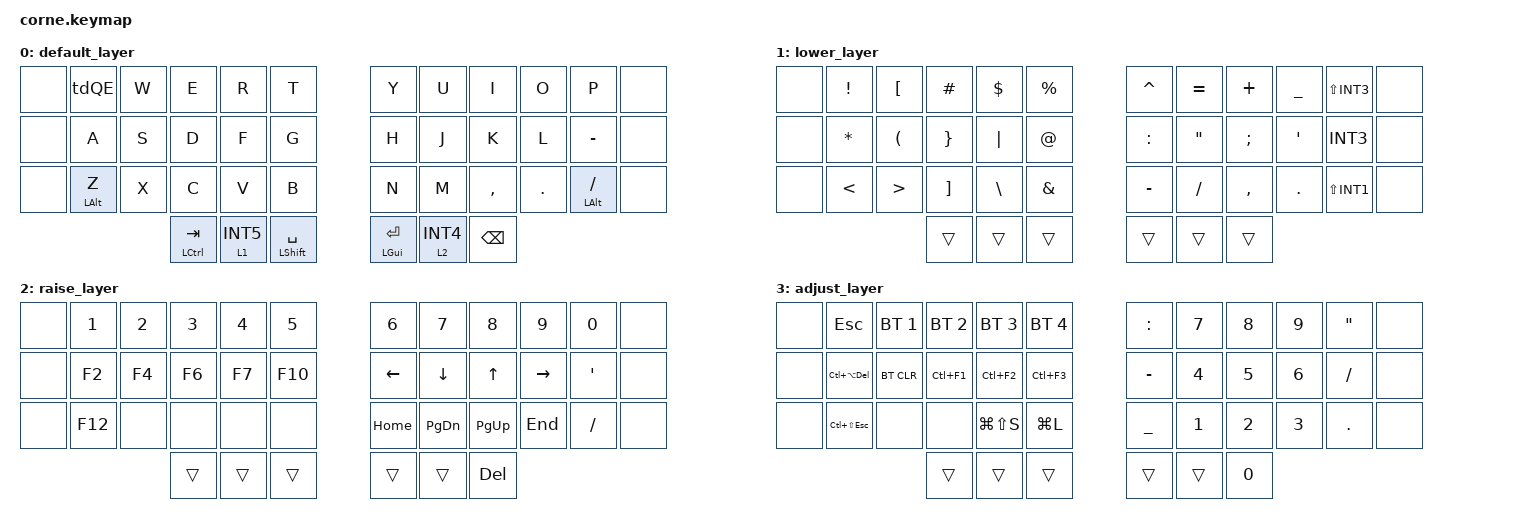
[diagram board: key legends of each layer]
/*
 * Copyright (c) 2020 The ZMK Contributors
 *
 * SPDX-License-Identifier: MIT
 */

#include <behaviors.dtsi>
#include <dt-bindings/zmk/keys.h>
#include <dt-bindings/zmk/bt.h>

//#define DEFAULT 0
//#define LOWER   1
//#define RAISE   2
//#define ADJUST  3

&mt {
    tapping-term-ms = <400>;
};

/ {
        conditional_layers {
                compatible = "zmk,conditional-layers";
                tri_layer {
                        if-layers = <1 2>;
                        then-layer = <3>;
                };
        };

        behaviors {
                tdQE: tap_dance_Q_ESC {
                        compatible = "zmk,behavior-tap-dance";
                        label = "TAP_DANCE_Q_ESC";
                        #binding-cells = <0>;
                        tapping-term-ms = <200>;
                        bindings = <&kp Q>, <&kp ESC>;
                };
        };

        keymap {
                compatible = "zmk,keymap";

                default_layer {
// --------------------------------------------------------------------------------------------------------------------------------
// |         |  Q ESC  |    W    |    E    |    R    |    T    |         |    Y    |    U    |    I    |    O    |    P    |      |
// |         |    A    |    S    |    D    |    F    |    G    |         |    H    |    J    |    K    |    L    |    -    |      |
// |         |    Z    |    X    |    C    |    V    |    B    |         |    N    |    M    |    ,    |    .    |    /    |      |
// |         |   ALT   |         |         |         |         |         |         |         |         |         |   ALT   |      |
//                               |   TAB   |  無変換  |  SPACE  |         |   ENT   |   変換   |  BKSP   |
//                               |   LCTRL |   LWR   |  SHIFT  |         |   GUI  |   RSE   |         |

                        bindings = <
   &none   &tdQE        &kp W     &kp E     &kp R     &kp T               &kp Y     &kp U     &kp I     &kp O     &kp P          &none
   &none   &kp A        &kp S     &kp D     &kp F     &kp G               &kp H     &kp J     &kp K     &kp L     &kp MINUS      &none
   &none   &mt LALT Z   &kp X     &kp C     &kp V     &kp B               &kp N     &kp M     &kp COMMA &kp DOT   &mt LALT FSLH  &none
                        &mt LCTRL TAB &lt 1 INT5 &mt LSHFT SPC         &mt LGUI RET &lt 2 INT4 &kp BSPC
                        >;
                };
                lower_layer {
// --------------------------------------------------------------------------------------------------------------------------------
// |         |    !    |  @ ([)  |    #    |    $    |    %    |         |   ^ (=) |   & (^) |   ~ (+) |   = (_) ||(S Int3)|      |
// |         |  ( (*)  |  ) (()  |   { (}) |  } (|)  |   " (@) |         |   + (:) |   * (") |    ;    |   : (') | ¥ (Int3)|      |
// |         |  <      |  >      |   [ (]) |  ] (¥)  |   ' (&) |         |   -     |    /    |    ,    |    .    |_(S Int1)|      |
//                               |   TAB   |  無変換  |  SPACE  |         |   ENT   |   変換   |  BKSP   |
//                               |   LCTRL |   LWR   |  SHIFT  |         |   GUI   |   RSE   |         |
                        bindings = <
   &none   &kp EXCL  &kp LBKT    &kp HASH  &kp DLLR  &kp PRCNT           &kp CARET  &kp EQUAL &kp PLUS  &kp UNDER  &kp LS(INT3)  &none
   &none   &kp STAR  &kp LPAR    &kp RBRC  &kp PIPE  &kp AT              &kp COLON  &kp DQT   &kp SEMI  &kp SQT    &kp INT3      &none
   &none   &kp LT    &kp GT      &kp RBKT  &kp BSLH  &kp AMPS            &kp MINUS  &kp FSLH  &kp COMMA &kp DOT    &kp LS(INT1)  &none
                                 &trans    &trans    &trans              &trans     &trans    &trans
                        >;
                };
                raise_layer {
// --------------------------------------------------------------------------------------------------------------------------------
// |         |    1    |    2    |    3    |    4    |    5    |         |    6    |    7    |    8    |    9    |    0    |      |
// |         |    F2   |    F4   |    F6   |    F7   |    F10  |         |   LFT   |   DWN   |   UP    |   RGT   |   : (') |      |
// |         |    F12  |         |         |         |         |         |   HOME  |   PGDN  |   PGUP  |   END   |    /    |      |
//                               |   TAB   |  無変換  |  SPACE  |         |   ENT   |   変換   |  BKSP   |
//                               |   LCTRL |   LWR   |  SHIFT  |         |   GUI   |   RSE   |         |
                        bindings = <
   &none   &kp N1    &kp N2    &kp N3    &kp N4    &kp N5              &kp N6    &kp N7    &kp N8    &kp N9    &kp N0    &none
   &none   &kp F2    &kp F4    &kp F6    &kp F7    &kp F10             &kp LEFT  &kp DOWN  &kp UP    &kp RIGHT &kp SQT   &none
   &none   &kp F12   &none     &none     &none     &none               &kp HOME  &kp PG_DN &kp PG_UP &kp END   &kp FSLH  &none
                               &trans    &trans    &trans              &trans    &trans    &kp DEL
                        >;
                };
                adjust_layer {
// --------------------------------------------------------------------------------------------------------------------------------
// |      |      ESC      |    BT    |     BT2    |     BT3    |    BT4   |       |   + (:) |    7    |    8    |    9    |  * (")  |      |
// |      |      CAD      |   BTCLR  |    C+F1    |    C+F2    |   C+F3   |       |     -   |    4    |    5    |    6    |    /    |      |
// |      |      CSE      |          |            |    WS+s    |   W+l    |       |   = (_) |    1    |    2    |    3    |    .    |      |
//                                   |    TAB     |    無変換   |   SPACE  |       |   ENT   |   変換   |    0    |
//                                   |    LCTRL   |     LWR    |   SHIFT  |       |   GUI   |   RSE   |         |
                        bindings = <
   &none   &kp ESC         &bt BT_SEL 1 &bt BT_SEL 2 &bt BT_SEL 3  &bt BT_SEL 4      &kp COLON    &kp N7    &kp N8    &kp N9    &kp DQT   &none
   &none   &kp LC(LA(DEL)) &bt BT_CLR   &kp LC(F1)   &kp LC(F2)    &kp LC(F3)        &kp MINUS    &kp N4    &kp N5    &kp N6    &kp FSLH  &none
   &none   &kp LC(LS(ESC)) &none        &none        &kp LG(LS(S)) &kp LG(L)         &kp UNDER    &kp N1    &kp N2    &kp N3    &kp DOT   &none
                                        &trans       &trans        &trans            &trans       &trans    &kp N0
                        >;
                };
        };
};
